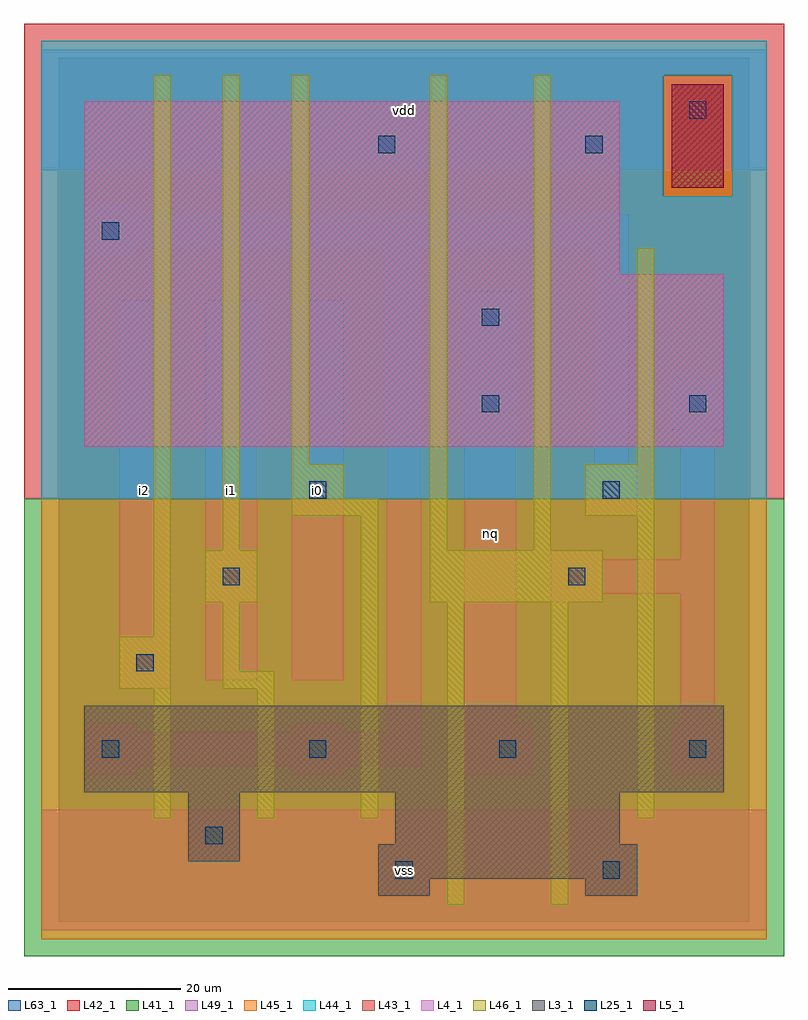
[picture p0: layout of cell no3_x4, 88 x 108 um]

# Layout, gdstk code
import gdstk
lib = gdstk.Library(unit=1e-6, precision=1e-09)
def R(c, l, rs):  # rectangles x0, y0, x1, y1
    for r in rs: c.add(gdstk.rectangle(r[:2], r[2:], *l))
def A(c, l, x, y, w, h, nx, ny, dx, dy):  # array of equal rectangles
    R(c, l, [(x+i*dx, y+j*dy, x+i*dx+w, y+j*dy+h) for i in range(nx) for j in range(ny)])
L3_1 = (3, 1)
L4_1 = (4, 1)
L5_1 = (5, 1)
L25_1 = (25, 1)
L41_1 = (41, 1)
L42_1 = (42, 1)
L43_1 = (43, 1)
L44_1 = (44, 1)
L45_1 = (45, 1)
L46_1 = (46, 1)
L49_1 = (49, 1)
L63_1 = (63, 1)

no3_x4 = lib.new_cell('no3_x4')
R(no3_x4, L3_1, [(37,3,43,5), (61,3,67,5), (37,5,67,9), (15,7,21,15), (39,9,65,15), (3,15,77,25)])
R(no3_x4, L4_1, [(3,55,77,75), (3,75,65,95)])
R(no3_x4, L5_1, [(71,85,77,97)])
A(no3_x4, L25_1, 29, 19, 2, 2, 3, 1, 22, 0)
R(no3_x4, L25_1, [(39,5,41,7), (63,5,65,7), (17,9,19,11), (5,19,7,21), (9,29,11,31), (19,39,21,41), (59,39,61,41), (29,49,31,51), (63,49,65,51), (49,59,51,61), (73,59,75,61), (49,69,51,71), (5,79,7,81), (37,89,39,91), (61,89,63,91), (73,93,75,95)])
R(no3_x4, L41_1, [(-4,-4,84,49)])
R(no3_x4, L42_1, [(-4,49,84,104)])
R(no3_x4, L43_1, [(37,3,43,5), (61,3,67,5), (37,5,67,9), (15,7,21,15), (39,9,65,15), (3,15,77,25), (3,55,77,75), (3,75,65,95), (71,85,77,97)])
R(no3_x4, L44_1, [(-2,49,82,84), (-2,84,70,98), (78,84,82,98), (-2,98,82,102)])
R(no3_x4, L45_1, [(-2,-2,82,49), (70,84,78,98)])
R(no3_x4, L46_1, [(45,2,47,37), (57,2,59,37), (11,12,13,27), (23,12,25,27), (35,12,37,47), (67,12,69,47), (7,27,13,33), (19,27,25,29), (19,29,21,37), (11,33,13,98), (17,37,23,43), (43,37,63,43), (19,43,21,98), (43,43,45,98), (55,43,57,98), (27,47,37,49), (61,47,69,53), (27,49,33,53), (27,53,29,98), (67,53,69,78)])
R(no3_x4, L49_1, [(-2,-1,82,13), (3,17,9,18), (27,17,33,18), (47,17,55,23), (71,17,77,23), (3,18,42,22), (3,22,9,23), (27,22,33,23), (38,22,42,78), (47,23,53,73), (72,23,76,38), (7,27,13,72), (17,28,23,72), (27,28,33,72), (57,37,63,38), (57,38,76,42), (57,42,63,43), (72,42,76,57), (61,47,67,53), (62,53,66,78), (71,57,77,63), (3,77,9,78), (3,78,66,82), (3,82,9,83), (-2,87,82,101)])
R(no3_x4, L63_1, [(0,0,80,100)])
no3_x4.add(gdstk.Label('i2', (10,50), layer=49, texttype=1))
no3_x4.add(gdstk.Label('i2', (10,50), layer=49, texttype=1))
no3_x4.add(gdstk.Label('i0', (30,50), layer=49, texttype=1))
no3_x4.add(gdstk.Label('i0', (30,50), layer=49, texttype=1))
no3_x4.add(gdstk.Label('i1', (20,50), layer=49, texttype=1))
no3_x4.add(gdstk.Label('i1', (20,50), layer=49, texttype=1))
no3_x4.add(gdstk.Label('vss', (40,6), layer=49, texttype=1))
no3_x4.add(gdstk.Label('vss', (40,6), layer=49, texttype=1))
no3_x4.add(gdstk.Label('nq', (50,45), layer=49, texttype=1))
no3_x4.add(gdstk.Label('nq', (50,45), layer=49, texttype=1))
no3_x4.add(gdstk.Label('vdd', (40,94), layer=49, texttype=1))
no3_x4.add(gdstk.Label('vdd', (40,94), layer=49, texttype=1))

lib.write_gds('no3_x4.gds')
